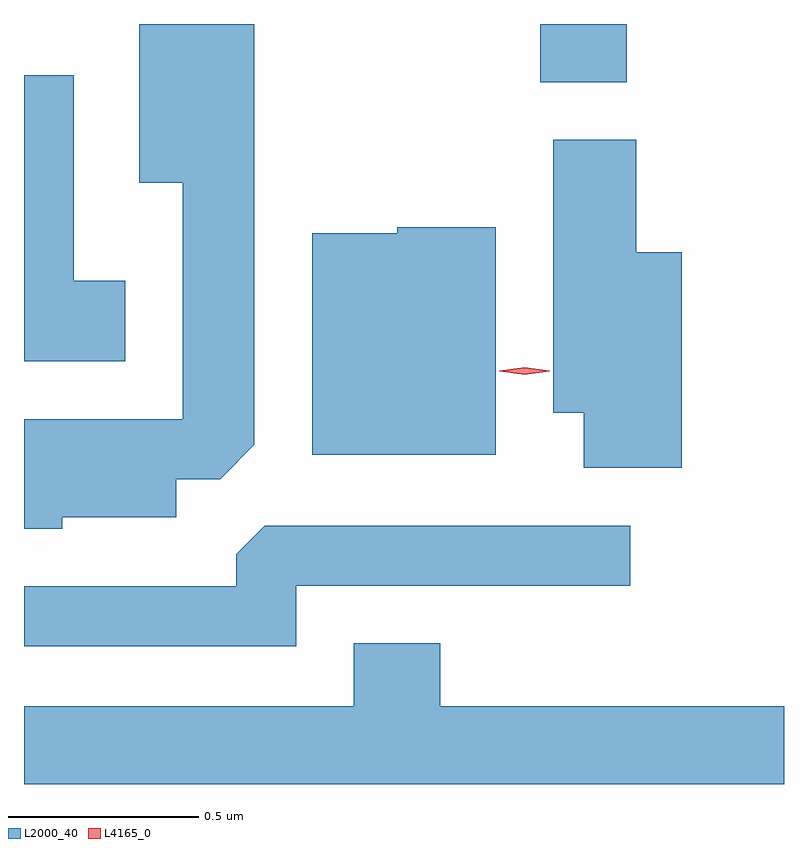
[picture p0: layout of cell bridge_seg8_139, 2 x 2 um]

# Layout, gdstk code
import gdstk
lib = gdstk.Library(unit=1e-6, precision=1e-09)
def R(c, l, rs):  # rectangles x0, y0, x1, y1
    for r in rs: c.add(gdstk.rectangle(r[:2], r[2:], *l))
def P(c, l, *ps):  # polygons
    for p in ps: c.add(gdstk.Polygon(p, *l))
L2000_40 = (2000, 40)
L4165_0 = (4165, 0)

bridge_seg8_139 = lib.new_cell('bridge_seg8_139')
R(bridge_seg8_139, L2000_40, [(1714.111,1864.966,1714.339,1865.119)])
P(bridge_seg8_139, L2000_40, [(1712.854,1863.821),(1713.154,1863.821),(1713.154,1863.921),(1713.269,1863.921),(1713.359,1864.012),(1713.359,1865.119),(1713.056,1865.119),(1713.056,1864.701),(1713.171,1864.701),(1713.171,1864.079),(1712.753,1864.079),(1712.753,1863.791),(1712.854,1863.791)],
  [(1713.019,1864.444),(1712.884,1864.444),(1712.884,1864.984),(1712.753,1864.984),(1712.753,1864.231),(1713.019,1864.231)],
  [(1714.484,1864.519),(1714.364,1864.519),(1714.364,1864.814),(1714.146,1864.814),(1714.146,1864.096),(1714.226,1864.096),(1714.226,1863.951),(1714.484,1863.951)],
  [(1713.994,1864.584),(1713.735,1864.584),(1713.735,1864.569),(1713.511,1864.569),(1713.511,1863.986),(1713.994,1863.986)],
  [(1713.469,1863.641),(1714.348,1863.641),(1714.348,1863.799),(1713.387,1863.799),(1713.311,1863.724),(1713.311,1863.639),(1712.753,1863.639),(1712.753,1863.481),(1713.469,1863.481)],
  [(1714.753,1863.324),(1713.849,1863.324),(1713.849,1863.489),(1713.621,1863.489),(1713.621,1863.324),(1712.753,1863.324),(1712.753,1863.119),(1714.753,1863.119)])
P(bridge_seg8_139, L4165_0, [(1714.071,1864.196),(1714.004,1864.205),(1714.004,1864.206),(1714.004,1864.206),(1714.071,1864.216),(1714.137,1864.206),(1714.137,1864.206),(1714.137,1864.205)])

lib.write_gds('bridge_seg8_139.gds')
